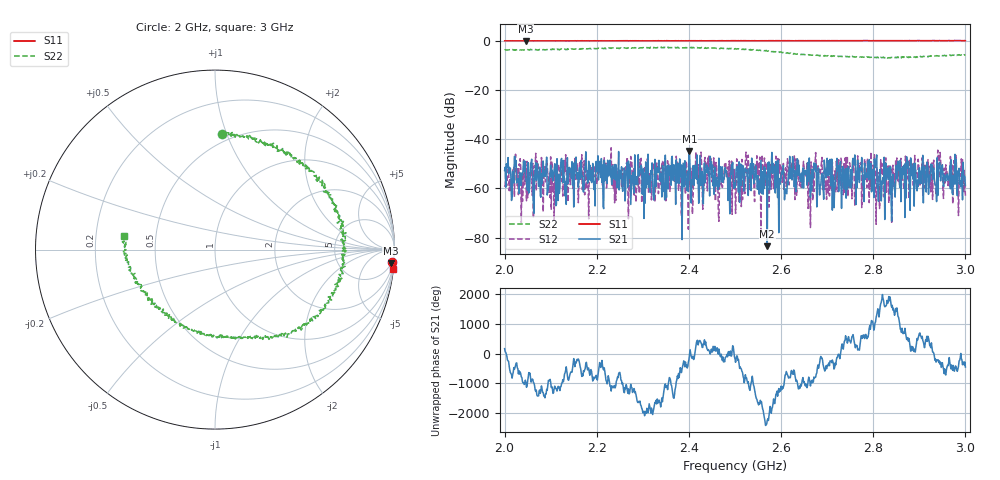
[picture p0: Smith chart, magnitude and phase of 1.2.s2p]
!Agilent Technologies,E8364A,US41440144,A.06.04.32
!Agilent E8364A: A.06.04.32
!Date: Wednesday, January 31, 2018 11:56:01
!Correction: S11(Full 2 Port(1,2)) S21(Full 2 Port(1,2)) S12(Full 2 Port(1,2)) S22(Full 2 Port(1,2))
!S2P File: Measurements: S11, S21, S12, S22:
# Hz S  dB  R 50
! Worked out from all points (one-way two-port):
!   801 points, 2 GHz to 3 GHz, reference 50 ohm
!   highest |S21| = -44.84 dB at 2.401 GHz (marker M1); lowest = -83.4 dB at 2.57 GHz (marker M2)
!   lowest |S11| = -0.1 dB at 2.046 GHz (marker M3), VSWR 116.61, Z = 265 - j1.21e+03 ohm
!   |S11| at or under -10 dB: nowhere
!   |S22| runs from -7.2 to -2.7 dB; largest |S21 - S12| = 0.0085
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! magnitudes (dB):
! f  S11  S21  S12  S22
! 2 GHz  -0.1  -52.7  -59.4  -3.8
! 2.046 GHz  -0.1  -56.5  -54.6  -3.8
! 2.09 GHz  -0.1  -50.9  -53.5  -3.7
! 2.106 GHz  -0.1  -54.0  -58.0  -3.4
! 2.118 GHz  -0.1  -54.5  -50.3  -3.6
! 2.167 GHz  0.0  -54.8  -46.3  -3.3
! 2.334 GHz  0.0  -50.0  -62.1  -2.8
! 2.401 GHz  -0.1  -44.8  -59.2  -2.9
! 2.439 GHz  -0.1  -50.5  -52.5  -3.1
! 2.469 GHz  -0.1  -51.2  -53.2  -3.2
! 2.48 GHz  -0.1  -53.2  -49.9  -3.3
! 2.5 GHz  -0.1  -59.6  -57.7  -3.3
! 2.564 GHz  -0.1  -60.0  -47.6  -4.1
! 2.57 GHz  -0.1  -83.4  -62.7  -4.3
! 2.59 GHz  0.0  -59.5  -56.2  -4.7
! 2.667 GHz  0.0  -52.2  -54.9  -5.9
! 2.834 GHz  -0.1  -56.4  -66.0  -7.0
! 2.934 GHz  0.0  -58.3  -57.6  -6.3
! 2.945 GHz  0.0  -50.2  -45.4  -6.1
! 2.956 GHz  0.0  -56.4  -57.4  -6.1
! 2.993 GHz  0.0  -53.3  -54.9  -5.9
! 3 GHz  0.0  -58.8  -63.0  -5.8
